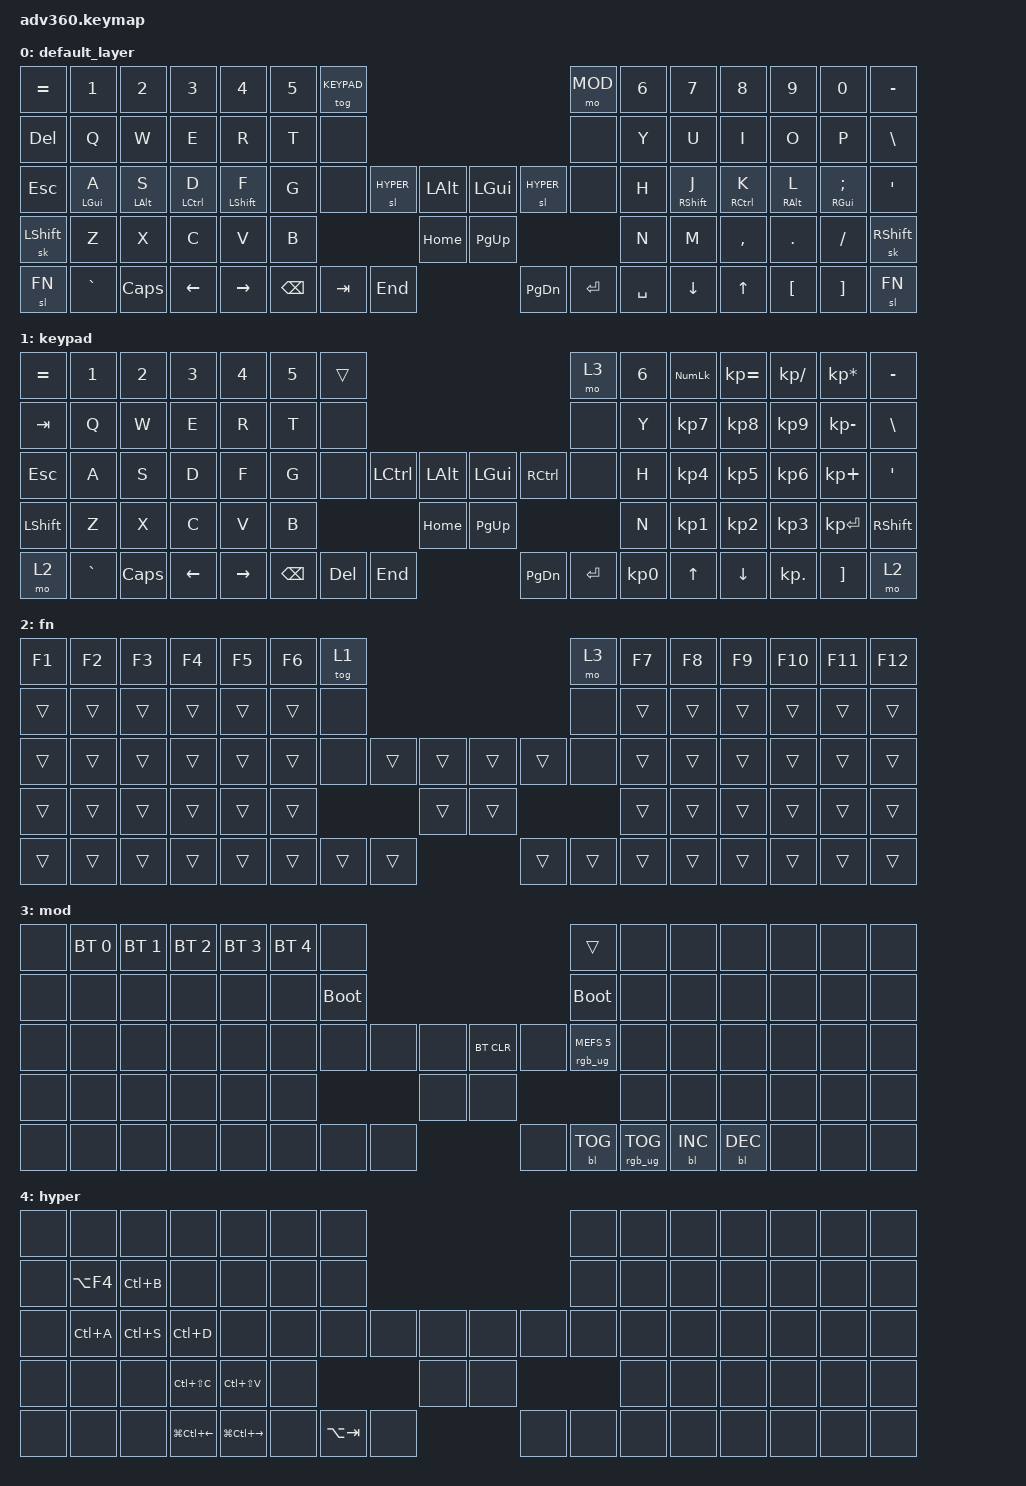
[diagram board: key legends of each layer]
#include <behaviors.dtsi>
#include <dt-bindings/zmk/keys.h>
#include <dt-bindings/zmk/bt.h>
#include <dt-bindings/zmk/rgb.h>
#include <dt-bindings/zmk/backlight.h>

#define QWERTY 0
#define KEYPAD 1
#define FN 2
#define MOD 3
#define HYPER 4

# define KEYS_L 0 1 2  3  4  5  6 14 15 16 17 18 19 20 28 29 30 31 32 33 34 46 47 48 49 50 51 60 61 62 63 64
# define KEYS_R 7 8 9 10 11 12 13 21 22 23 24 25 26 27 30 40 41 42 43 44 45 54 55 56 57 58 59 71 72 73 74 75
# define KEYS_T 35 36 37 38 52 53 65 66 67 68 69 70

/ {
    behaviors {
      #include "macros.dtsi"

        hl: home_row_mods_left_hand {
            compatible = "zmk,behavior-hold-tap";
            flavor = "balanced";
            label = "HOME_ROW_MODS_LEFT_HAND";
            #binding-cells = <2>;
            bindings = <&kp>, <&kp>;
            hold-trigger-key-positions = <KEYS_R KEYS_T>;
            hold-trigger-on-release; // FIXME: needs ZMK 3.2
            tapping-term-ms = <250>;
            quick-tap-ms = <160>;
            global-quick-tap; // with typing streak
        };

        hr: home_row_mods_right_hand {
            compatible = "zmk,behavior-hold-tap";
            flavor = "balanced";
            label = "HOME_ROW_MODS_RIGHT_HAND";
            #binding-cells = <2>;
            bindings = <&kp>, <&kp>;
            hold-trigger-key-positions = <KEYS_L KEYS_T>;
            hold-trigger-on-release; // FIXME: needs ZMK 3.2
            tapping-term-ms = <250>;
            quick-tap-ms = <160>;
            global-quick-tap; // with typing streak
        };
        hls: hm_shift_l {
            compatible = "zmk,behavior-hold-tap";
            label = "HOMEROW_MODS_FAST_LEFT";
            #binding-cells = <2>;
            bindings = <&kp>, <&kp>;
            flavor = "balanced";
            tapping-term-ms = <150>;
            quick_tap_ms = <175>;
            //global-quick-tap;
            //global-quick-tap-ms = <150>;         // requires PR #1387
            hold-trigger-key-positions = <KEYS_R KEYS_T>;
            //hold-trigger-on-release;             // requires PR #1423
        };

        hrs: hm_shift_r {
            compatible = "zmk,behavior-hold-tap";
            label = "HOMEROW_MODS_FAST_RIGHT";
            #binding-cells = <2>;
            bindings = <&kp>, <&kp>;

            flavor = "balanced";
            tapping-term-ms = <150>;
            quick_tap_ms = <175>;
            //global-quick-tap;
            //global-quick-tap-ms = <150>;         // requires PR #1387
            hold-trigger-key-positions = <KEYS_L KEYS_T>;
            //hold-trigger-on-release;             // requires PR #1423
        };
    };

  keymap {
    compatible = "zmk,keymap";

    default_layer {
      bindings = <
        &kp EQUAL &kp N1      &kp N2       &kp N3         &kp N4        &kp N5      &tog KEYPAD                                                            &mo MOD      &kp N6    &kp N7        &kp N8        &kp N9        &kp N0          &kp MINUS
        &kp DEL   &kp Q       &kp W        &kp E          &kp R         &kp T       &none                                                                  &none        &kp Y     &kp U         &kp I         &kp O         &kp P           &kp BSLH
        &kp ESC   &hl LGUI A  &hl LALT S   &hl LCTRL D    &hls LSHFT F  &kp G       &none             &sl HYPER  &kp LALT  &kp LGUI  &sl HYPER             &none        &kp H     &hrs RSHFT J  &hr RCTRL K   &hr RALT L    &hr RGUI SEMI   &kp SQT
        &sk LSHFT &kp Z       &kp X        &kp C          &kp V         &kp B                                    &kp HOME  &kp PG_UP                                    &kp N     &kp M         &kp COMMA     &kp DOT       &kp FSLH        &sk RSHFT
        &sl FN    &kp GRAVE   &kp CAPS     &kp LEFT       &kp RIGHT                              &kp BSPC  &kp TAB &kp END  &kp PG_DN &kp ENTER &kp SPACE                         &kp DOWN      &kp UP        &kp LBKT      &kp RBKT        &sl FN
      >;
    };
    keypad {
      bindings = <
        &kp EQUAL &kp N1    &kp N2   &kp N3   &kp N4     &kp N5 &trans                                                           &mo 3 &kp N6 &kp KP_NUM &kp KP_EQUAL &kp KP_DIVIDE &kp KP_MULTIPLY &kp MINUS
        &kp TAB   &kp Q     &kp W    &kp E    &kp R      &kp T  &none                                                            &none &kp Y  &kp KP_N7  &kp KP_N8    &kp KP_N9     &kp KP_MINUS    &kp BSLH
        &kp ESC   &kp A     &kp S    &kp D    &kp F      &kp G  &none           &kp LCTRL &kp LALT &kp LGUI  &kp RCTRL           &none &kp H  &kp KP_N4  &kp KP_N5    &kp KP_N6     &kp KP_PLUS     &kp SQT
        &kp LSHFT &kp Z     &kp X    &kp C    &kp V      &kp B                            &kp HOME &kp PG_UP                           &kp N  &kp KP_N1  &kp KP_N2    &kp KP_N3     &kp KP_ENTER    &kp RSHFT
        &mo 2     &kp GRAVE &kp CAPS &kp LEFT &kp RIGHT                &kp BSPC &kp DEL   &kp END  &kp PG_DN &kp ENTER &kp KP_N0              &kp UP     &kp DOWN     &kp KP_DOT    &kp RBKT        &mo 2
      >;
    };
    fn {
      bindings = <
        &kp F1 &kp F2 &kp F3 &kp F4 &kp F5 &kp F6 &tog 1                                           &mo 3 &kp F7 &kp F8 &kp F9 &kp F10 &kp F11 &kp F12
        &trans &trans &trans &trans &trans &trans  &none                                           &none &trans &trans &trans &trans  &trans  &trans
        &trans &trans &trans &trans &trans &trans  &none        &trans &trans &trans &trans        &none &trans &trans &trans &trans  &trans  &trans
        &trans &trans &trans &trans &trans &trans                      &trans &trans                     &trans &trans &trans &trans  &trans  &trans
        &trans &trans &trans &trans &trans               &trans &trans &trans &trans &trans &trans              &trans &trans &trans  &trans  &trans
      >;
    };
    mod {
      bindings = <
        &none &bt BT_SEL 0 &bt BT_SEL 1 &bt BT_SEL 2 &bt BT_SEL 3 &bt BT_SEL 4 &none                                                                     &trans                 &none        &none        &none        &none &none &none
        &none &none        &none        &none        &none        &none        &bootloader                                                               &bootloader            &none        &none        &none        &none &none &none
        &none &none        &none        &none        &none        &none        &none                   &none &none &bt BT_CLR &none                      &rgb_ug RGB_MEFS_CMD 5 &none        &none        &none        &none &none &none
        &none &none        &none        &none        &none        &none                                      &none &none                                                        &none        &none        &none        &none &none &none
        &none &none        &none        &none        &none                                       &none &none &none &none      &bl BL_TOG &rgb_ug RGB_TOG                                     &bl BL_INC   &bl BL_DEC   &none &none &none
      >;
    };
    hyper {
      bindings = <
        &none &none        &none        &none            &none             &none        &none                                             &none        &none        &none        &none        &none &none &none
        &none &kp LA(F4)   &kp LC(B)    &none            &none             &none        &none                                             &none        &none        &none        &none        &none &none &none
        &none &kp LC(A)    &kp LC(S)    &kp LC(D)        &none             &none        &none              &none &none &none &none        &none        &none        &none        &none        &none &none &none
        &none &none        &none        &kp LC(LS(C))    &kp LC(LS(V))     &none                                 &none &none                           &none        &none        &none        &none &none &none
        &none &none        &none        &kp LG(LC(LEFT)) &kp LG(LC(RIGHT))                     &none &kp LA(TAB) &none &none &none &none                            &none        &none        &none &none &none
      >;
    };
  };
};
